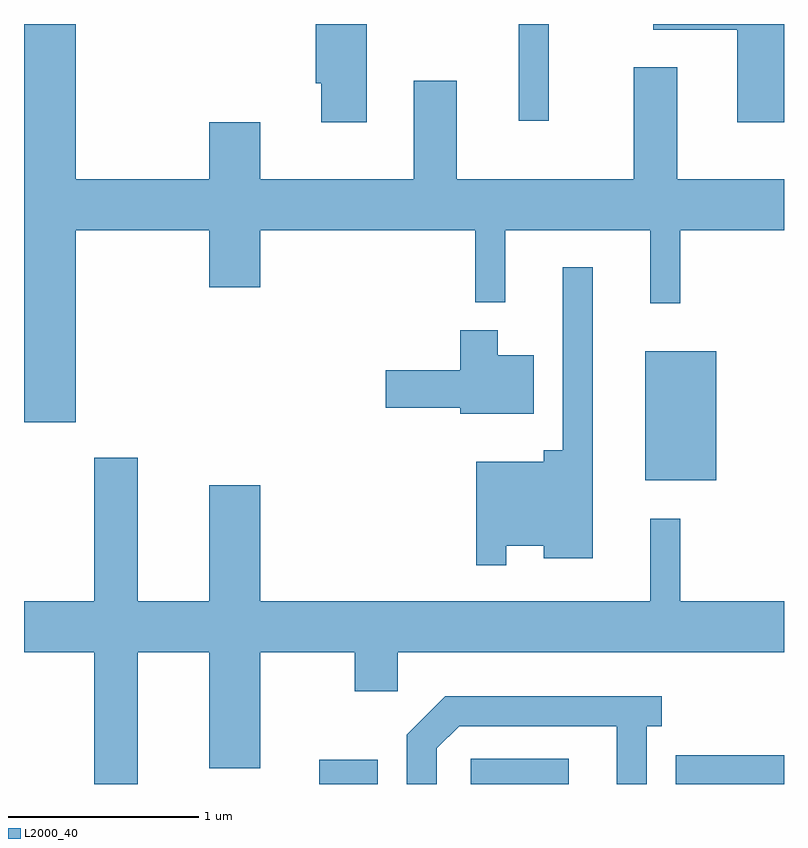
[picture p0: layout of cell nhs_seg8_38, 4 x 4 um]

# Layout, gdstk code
import gdstk
lib = gdstk.Library(unit=1e-6, precision=1e-09)
def R(c, l, rs):  # rectangles x0, y0, x1, y1
    for r in rs: c.add(gdstk.rectangle(r[:2], r[2:], *l))
def P(c, l, *ps):  # polygons
    for p in ps: c.add(gdstk.Polygon(p, *l))
L2000_40 = (2000, 40)

nhs_seg8_38 = lib.new_cell('nhs_seg8_38')
R(nhs_seg8_38, L2000_40, [(187.166,1882.342,187.474,1882.469), (187.961,1882.342,188.478,1882.474), (189.041,1882.342,189.611,1882.494), (188.881,1883.941,189.254,1884.619), (188.216,1885.833,188.374,1886.342)])
P(nhs_seg8_38, L2000_40, [(187.414,1886.342),(187.146,1886.342),(187.146,1886.031),(187.176,1886.031),(187.176,1885.826),(187.414,1885.826)],
  [(189.611,1886.342),(188.923,1886.342),(188.923,1886.311),(189.366,1886.311),(189.366,1885.826),(189.611,1885.826)],
  [(185.884,1885.256),(186.586,1885.256),(186.586,1884.956),(186.854,1884.956),(186.854,1885.256),(187.986,1885.256),(187.986,1884.878),(188.144,1884.878),(188.144,1885.256),(188.906,1885.256),(188.906,1884.873),(189.064,1884.873),(189.064,1885.256),(189.611,1885.256),(189.611,1885.524),(189.049,1885.524),(189.049,1886.114),(188.821,1886.114),(188.821,1885.524),(187.889,1885.524),(187.889,1886.044),(187.661,1886.044),(187.661,1885.524),(186.854,1885.524),(186.854,1885.824),(186.586,1885.824),(186.586,1885.524),(185.884,1885.524),(185.884,1886.342),(185.611,1886.342),(185.611,1884.246),(185.884,1884.246)],
  [(188.149,1883.596),(188.346,1883.596),(188.346,1883.531),(188.604,1883.531),(188.604,1885.063),(188.446,1885.063),(188.446,1884.099),(188.346,1884.099),(188.346,1884.039),(187.991,1884.039),(187.991,1883.493),(188.149,1883.493)],
  [(188.294,1884.599),(188.104,1884.599),(188.104,1884.729),(187.906,1884.729),(187.906,1884.519),(187.516,1884.519),(187.516,1884.321),(187.906,1884.321),(187.906,1884.291),(188.294,1884.291)],
  [(186.209,1883.036),(186.586,1883.036),(186.586,1882.426),(186.854,1882.426),(186.854,1883.036),(187.351,1883.036),(187.351,1882.831),(187.579,1882.831),(187.579,1883.036),(189.611,1883.036),(189.611,1883.304),(189.064,1883.304),(189.064,1883.738),(188.906,1883.738),(188.906,1883.304),(186.854,1883.304),(186.854,1883.914),(186.586,1883.914),(186.586,1883.304),(186.209,1883.304),(186.209,1884.059),(185.981,1884.059),(185.981,1883.304),(185.611,1883.304),(185.611,1883.036),(185.981,1883.036),(185.981,1882.342),(186.209,1882.342)],
  [(187.784,1882.529),(187.902,1882.646),(188.731,1882.646),(188.731,1882.342),(188.889,1882.342),(188.889,1882.646),(188.968,1882.646),(188.968,1882.804),(187.829,1882.804),(187.626,1882.602),(187.626,1882.342),(187.784,1882.342)])

lib.write_gds('nhs_seg8_38.gds')
